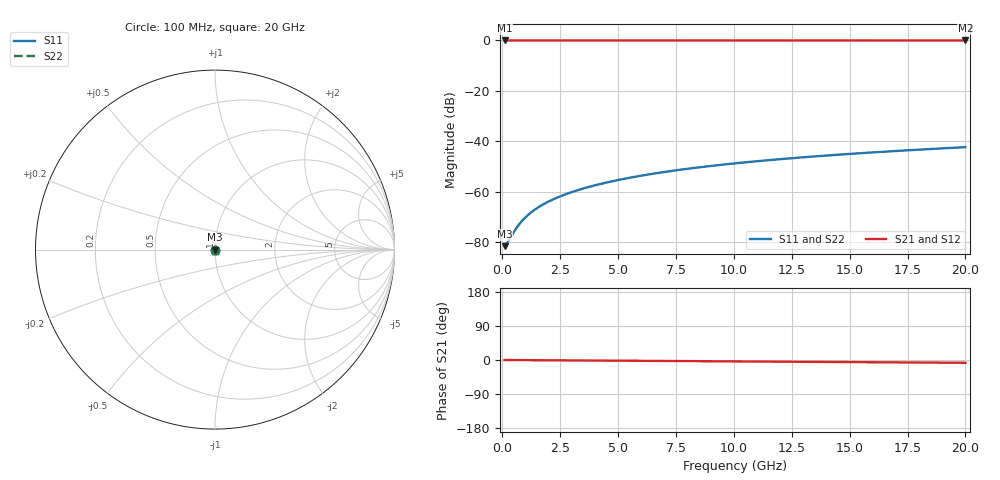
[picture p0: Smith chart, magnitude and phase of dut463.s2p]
! Touchstone file exported from HFSS 2026.1.0
!  File:  C:/ffzhzh/LocalFiles/Ansys_Project_Files/temp_train_TSV_463_1783022076_46388.aedt
!  Generated:  03:56:04 AM Jul  3, 2026
!  Design:  TSV
!  Project:  temp_train_TSV_463_1783022076_46388
! Variables:
!  h_bsmrdl = 2um
!  h_ox = 20um
!  h_rdl = 5um
!  h_sub = 72.04um
!  h_tmrdl = 5um
!  h_tsv = 72.04um
!  h_via = 3um
!  l_bsmrdl = 300um
!  l_sub = 425.58um
!  l_tmrdl = 200um
!  m_sub = 200um
!  pitch = 48.07um
!  r_tsv = 12.79um
!  s_tmrdl = 10um
!  w_bsmrdl = 18um
!  w_sub = 500um
!  w_tmrdl = 12um
!  x_tsv_center1 = 206um
!  x_tsv_center2 = 524um
!  x_tsv_center3 = 736um
!  x_tsv_center4 = 1054um
!  x_tsv_center5 = 1266um
!  x_tsv_center6 = 1584um
# GHz S MA R 50.000000
! Terminal data exported
! Port[1] = TSV1_1_T1
! Port[2] = TSV1_1_T2
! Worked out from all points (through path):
!   200 points, 100 MHz to 20 GHz, reference 50 ohm
!   highest |S21| = 0.00 dB at 100 MHz (marker M1); lowest = 0.0 dB at 20 GHz (marker M2)
!   group delay of S21, straight-line fit = 1.02 ps
!   lowest |S11| = -81.6 dB at 100 MHz (marker M3), VSWR 1.00, Z = 50 + j2.78e-05 ohm
!   |S11| at or under -10 dB: start of sweep to end of sweep
!   |S22| runs from -81.6 to -42.3 dB; largest |S21 - S12| = 4.2e-15
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0.1  8.287e-05 0.2  0.9999 -0.0  0.9999 -0.0  8.287e-05 0.2
! Gamma 0 0 0 0
! Port Impedance 50 0 50 0
0.2  9.462e-05 -1.5  0.9999 -0.1  0.9999 -0.1  9.462e-05 -1.5
0.3  0.0001123 -5.3  0.9999 -0.1  0.9999 -0.1  0.0001123 -5.3
0.5  0.0001597 -15.9  0.9998 -0.2  0.9998 -0.2  0.0001597 -15.9
0.6  0.0001871 -21.3  0.9998 -0.2  0.9998 -0.2  0.0001871 -21.3
0.7  0.0002162 -26.4  0.9998 -0.3  0.9998 -0.3  0.0002162 -26.4
0.9  0.0002773 -35.1  0.9998 -0.3  0.9998 -0.3  0.0002773 -35.1
1.2  0.000373 -45.0  0.9997 -0.5  0.9997 -0.5  0.000373 -45.0
1.5  0.000471 -51.9  0.9997 -0.6  0.9997 -0.6  0.000471 -51.9
1.9  0.0006037 -58.3  0.9997 -0.7  0.9997 -0.7  0.0006037 -58.3
2.4  0.0007726 -63.5  0.9996 -0.9  0.9996 -0.9  0.0007725 -63.5
2.9  0.0009446 -67.1  0.9996 -1.1  0.9996 -1.1  0.0009446 -67.1
3.5  0.001155 -70.1  0.9996 -1.3  0.9996 -1.3  0.001155 -70.1
4.2  0.001407 -72.6  0.9995 -1.6  0.9995 -1.6  0.001407 -72.6
5  0.001701 -74.8  0.9995 -1.9  0.9995 -1.9  0.001701 -74.8
5.9  0.002039 -76.7  0.9995 -2.2  0.9995 -2.2  0.002039 -76.7
6.8  0.002382 -78.2  0.9994 -2.5  0.9994 -2.5  0.002381 -78.2
8.3  0.002961 -80.4  0.9993 -3.1  0.9993 -3.1  0.002961 -80.4
10.1  0.003665 -82.4  0.9993 -3.7  0.9993 -3.7  0.003665 -82.5
13.4  0.00497 -85.4  0.9992 -4.9  0.9992 -4.9  0.00497 -85.4
16.7  0.006293 -87.8  0.9991 -6.1  0.9991 -6.1  0.006292 -87.8
20  0.007637 -89.7  0.999 -7.4  0.999 -7.4  0.007636 -89.7
